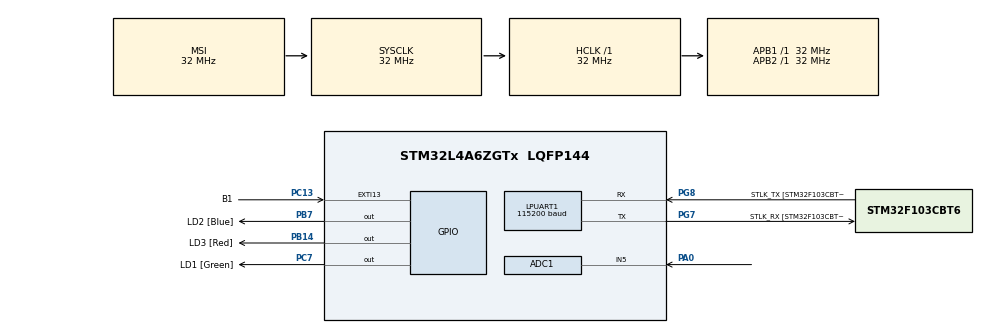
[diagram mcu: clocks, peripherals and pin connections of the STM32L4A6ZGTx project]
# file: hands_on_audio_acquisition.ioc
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ADC1.Channel-0\#ChannelRegularConversion=ADC_CHANNEL_5
ADC1.DMAContinuousRequests=ENABLE
ADC1.ExternalTrigConv=ADC_EXTERNALTRIG_T3_TRGO
ADC1.NbrOfConversionFlag=1
ADC1.OffsetNumber-0\#ChannelRegularConversion=ADC_OFFSET_NONE
ADC1.Rank-0\#ChannelRegularConversion=1
ADC1.SamplingTime-0\#ChannelRegularConversion=ADC_SAMPLETIME_2CYCLES_5
ADC1.master=1
Dma.ADC1.0.Direction=DMA_PERIPH_TO_MEMORY
Dma.ADC1.0.Instance=DMA1_Channel1
Dma.ADC1.0.MemDataAlignment=DMA_MDATAALIGN_HALFWORD
Dma.ADC1.0.MemInc=DMA_MINC_ENABLE
Dma.ADC1.0.Mode=DMA_CIRCULAR
Dma.ADC1.0.PeriphDataAlignment=DMA_PDATAALIGN_HALFWORD
Dma.ADC1.0.PeriphInc=DMA_PINC_DISABLE
Dma.ADC1.0.Priority=DMA_PRIORITY_LOW
Dma.Request0=ADC1
LPUART1.AutoBaudRateEnableParam=UART_ADVFEATURE_AUTOBAUDRATE_DISABLE
LPUART1.BaudRate=115200
LPUART1.DMADisableonRxErrorParam=UART_ADVFEATURE_DMA_ENABLEONRXERROR
LPUART1.DataInvertParam=UART_ADVFEATURE_DATAINV_DISABLE
LPUART1.MSBFirstParam=UART_ADVFEATURE_MSBFIRST_DISABLE
LPUART1.Mode=UART_MODE_TX_RX
LPUART1.OneBitSampling=UART_ONE_BIT_SAMPLE_DISABLE
LPUART1.OverrunDisableParam=UART_ADVFEATURE_OVERRUN_ENABLE
LPUART1.Parity=UART_PARITY_NONE
LPUART1.RxPinLevelInvertParam=UART_ADVFEATURE_RXINV_DISABLE
LPUART1.StopBits=UART_STOPBITS_1
LPUART1.SwapParam=UART_ADVFEATURE_SWAP_DISABLE
LPUART1.TxPinLevelInvertParam=UART_ADVFEATURE_TXINV_DISABLE
LPUART1.WordLength=UART_WORDLENGTH_8B
Mcu.Family=STM32L4
Mcu.Name=STM32L4A6ZGTx
Mcu.Package=LQFP144
NVIC.DMA1_Channel1_IRQn=true\:0\:0\:false\:false\:true\:false\:true\:true
NVIC.EXTI15_10_IRQn=true\:0\:0\:false\:false\:true\:true\:true\:true
NVIC.PriorityGroup=NVIC_PRIORITYGROUP_4
PA0.Signal=ADCx_IN5
PA13\ (JTMS/SWDIO).GPIO_Label=TMS
PA13\ (JTMS/SWDIO).Mode=Trace_Asynchronous_SW
PA13\ (JTMS/SWDIO).Signal=SYS_JTMS-SWDIO
PA14\ (JTCK/SWCLK).GPIO_Label=TCK
PA14\ (JTCK/SWCLK).Mode=Trace_Asynchronous_SW
PA14\ (JTCK/SWCLK).Signal=SYS_JTCK-SWCLK
PB14.GPIO_Label=LD3 [Red]
PB14.Signal=GPIO_Output
PB3\ (JTDO/TRACESWO).GPIO_Label=SWO
PB3\ (JTDO/TRACESWO).Mode=Trace_Asynchronous_SW
PB3\ (JTDO/TRACESWO).Signal=SYS_JTDO-SWO
PB7.GPIO_Label=LD2 [Blue]
PB7.Signal=GPIO_Output
PC13.GPIO_Label=B1
PC13.Signal=GPXTI13
PC14-OSC32_IN\ (PC14).Mode=LSE-External-Oscillator
PC14-OSC32_IN\ (PC14).Signal=RCC_OSC32_IN
PC15-OSC32_OUT\ (PC15).Mode=LSE-External-Oscillator
PC15-OSC32_OUT\ (PC15).Signal=RCC_OSC32_OUT
PC7.GPIO_Label=LD1 [Green]
PC7.Signal=GPIO_Output
PG7.GPIO_Label=STLK_RX [STM32F103CBT6_PA3]
PG7.Mode=Asynchronous
PG7.Signal=LPUART1_TX
PG8.GPIO_Label=STLK_TX [STM32F103CBT6_PA2]
PG8.Mode=Asynchronous
PG8.Signal=LPUART1_RX
PH1-OSC_OUT\ (PH1).Signal=RCC_OSC_OUT
ProjectManager.HeapSize=0x200
ProjectManager.StackSize=0x400
ProjectManager.TargetToolchain=STM32CubeIDE
RCC.ADCCLockSelection=RCC_ADCCLKSOURCE_SYSCLK
RCC.ADCFreq_Value=32000000
RCC.AHBFreq_Value=32000000
RCC.APB1Freq_Value=32000000
RCC.APB1TimFreq_Value=32000000
RCC.APB2Freq_Value=32000000
RCC.APB2TimFreq_Value=32000000
RCC.CortexFreq_Value=32000000
RCC.FLatency=FLASH_LATENCY_1
RCC.HCLKFreq_Value=32000000
RCC.HSE_VALUE=8000000
RCC.HSI48_VALUE=48000000
RCC.HSI_VALUE=16000000
RCC.MSIClockRange=RCC_MSIRANGE_10
RCC.MSI_VALUE=32000000
RCC.PLLN=71
RCC.PLLR=RCC_PLLR_DIV6
RCC.PLLSAI1N=24
RCC.SYSCLKFreq_VALUE=32000000
RCC.USBFreq_Value=384000000
RCC.VCOOutputFreq_Value=2272000000
SH.ADCx_IN5.0=ADC1_IN5,IN5-Single-Ended
TIM3.Period=195
TIM3.Prescaler=15
TIM3.TIM_MasterOutputTrigger=TIM_TRGO_UPDATE
VP_TIM3_VS_ClockSourceINT.Mode=Internal
board=NUCLEO-L4A6ZG

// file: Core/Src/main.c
/* USER CODE BEGIN Header */
/**
  ****************************************************************************
  * @file           : main.c
  * @brief          : Main program body
  ****************************************************************************
  * @attention
  *
  * <h2><center>&copy; Copyright (c) 2021 STMicroelectronics.
  * All rights reserved.</center></h2>
  *
  * This software component is licensed by ST under BSD 3-Clause license,
  * the "License"; You may not use this file except in compliance with the
  * License. You may obtain a copy of the License at:
  *                        opensource.org/licenses/BSD-3-Clause

  *
  ****************************************************************************
  */
/* USER CODE END Header */
#include "main.h"
#include "adc.h"
#include "dma.h"
#include "usart.h"
#include "tim.h"
#include "gpio.h"

/* USER CODE BEGIN Includes */
#include <stdio.h>
#include "retarget.h"
/* USER CODE END Includes */

/* USER CODE BEGIN PD */
//MAXIMUM BUFFER WITHOUT PROBLEM: 32700 - above : only part of the audio recorded
//ABOVE 40000: overflow error - not enough ram (320KB (bytes) of RAM, buffer of 40000 -> 160kB)
#define ADC_BUF_SIZE 32700
/* USER CODE END PD */

/* USER CODE BEGIN PV */
volatile int state;
//Le 2* est normal !
volatile uint16_t ADCBuffer[2*ADC_BUF_SIZE]; /* ADC group regular conversion data (array of data) */
volatile uint16_t* ADCData1;
volatile uint16_t* ADCData2;
// Flag to track ADC state
volatile uint8_t is_acquiring = 0;

volatile int state = 0; // To track the button
uint32_t adc_value = 0; // To store ADC value

//Our defined variables
uint8_t is_led_blinking = 0;

char hex_encoded_buffer[4*ADC_BUF_SIZE+1];
/* USER CODE END PV */

void SystemClock_Config(void);
/* USER CODE BEGIN PFP */
void hex_encode(char* s, const uint8_t* buf, size_t len);
void print_buffer(uint16_t *buffer);
uint32_t get_signal_power(uint16_t *buffer, size_t len);
/* USER CODE END PFP */

/* USER CODE BEGIN 0 */

//Teaching staff's functions
//----------------------------
void hex_encode(char* s, const uint8_t* buf, size_t len) {
    s[2*len] = '\0'; // A string terminated by a zero char.
    for (size_t i=0; i<len; i++) {
        s[i*2] = "0123456789abcdef"[buf[i] >> 4];
        s[i*2+1] = "0123456789abcdef"[buf[i] & 0xF];
    }
}

void print_buffer(uint16_t *buffer) {
	hex_encode(hex_encoded_buffer, (uint8_t*)buffer, 2*ADC_BUF_SIZE);
	printf("SND:HEX:%s\r\n", hex_encoded_buffer);
}

uint32_t get_signal_power(uint16_t *buffer, size_t len){
	uint64_t sum = 0;
	uint64_t sum2 = 0;
	for (size_t i=0; i<len; i++) {
		sum += (uint64_t) buffer[i];
		sum2 += (uint64_t) buffer[i]*(uint64_t) buffer[i];
	}
	return (uint32_t)(sum2/len - sum*sum/len/len);
}

//Our functions
//--------------------------------

// Function to start ADC acquisition
void start_adc_acquisition() {
    HAL_TIM_Base_Start(&htim3);
    HAL_ADC_Start_DMA(&hadc1, (uint32_t *) ADCBuffer, 2*ADC_BUF_SIZE);
    is_acquiring = 1;
    printf("Acquisition started.\r\n");
}

// Function to stop ADC acquisition
void stop_adc_acquisition() {
    HAL_TIM_Base_Stop(&htim3);
    HAL_ADC_Stop_DMA(&hadc1);
    is_acquiring = 0;
    printf("Acquisition stopped.\r\n");
}

//B1 USER BUTTON Trigger
/*void HAL_GPIO_EXTI_Callback(uint16_t GPIO_Pin) { //Triggered when pressing button
	if (GPIO_Pin == B1_Pin) {
		HAL_TIM_Base_Start(&htim3);
		HAL_ADC_Start_DMA(&hadc1, (uint32_t *) ADCBuffer, 2*ADC_BUF_SIZE);

	}
}*/
// Button press toggles ADC acquisition
void HAL_GPIO_EXTI_Callback(uint16_t GPIO_Pin) {
    if (GPIO_Pin == B1_Pin) {
        if (is_acquiring) {
            stop_adc_acquisition();
        } else {
            start_adc_acquisition();
        }
    }
}

//Triggered by ADC_Start_DMA when buffer is full
/*void HAL_ADC_ConvCpltCallback(ADC_HandleTypeDef *hadc){

	HAL_GPIO_WritePin(LD2_GPIO_Port, LD2_Pin, GPIO_PIN_SET);  // LED ON
	print_buffer(ADCBuffer);
	HAL_TIM_Base_Stop(&htim3);
	HAL_ADC_Stop_DMA(&hadc1);
	HAL_GPIO_WritePin(LD2_GPIO_Port, LD2_Pin, GPIO_PIN_RESET); // LED OFF

}*/
// ADC Callback (data ready)
void HAL_ADC_ConvCpltCallback(ADC_HandleTypeDef *hadc) {
    if (is_acquiring) {
        HAL_GPIO_WritePin(LD2_GPIO_Port, LD2_Pin, GPIO_PIN_SET);  // LED ON
        print_buffer(ADCBuffer);  // Send data via UART
        HAL_GPIO_WritePin(LD2_GPIO_Port, LD2_Pin, GPIO_PIN_RESET); // LED OFF
    } else {
            printf("ERROR: Attempted to send data while ADC is stopped!\r\n");
        }
}

/* USER CODE END 0 */

int main(void)
{

  /* MCU Configuration--------------------------------------------------------*/

  /* Reset of all peripherals, Initializes the Flash interface and the Systick. */
  HAL_Init();

  /* Configure the system clock */
  SystemClock_Config();

  /* Initialize all configured peripherals */
  MX_GPIO_Init();
  MX_DMA_Init();
  MX_LPUART1_UART_Init();
  MX_ADC1_Init();
  MX_TIM3_Init();
  /* USER CODE BEGIN 2 */
  RetargetInit(&hlpuart1);
  printf("Hello world!\r\n");
  state=0;
  //ADCData1 = &ADCBuffer[0];
  //ADCData2 = &ADCBuffer[ADC_BUF_SIZE];
  /* USER CODE END 2 */

  /* Infinite loop */
  /* USER CODE BEGIN WHILE */
  while (1)
  {
	__WFI();
    /* USER CODE END WHILE */

  }
}

void SystemClock_Config(void)
{
  RCC_OscInitTypeDef RCC_OscInitStruct = {0};
  RCC_ClkInitTypeDef RCC_ClkInitStruct = {0};

  /** Configure the main internal regulator output voltage
  */
  if (HAL_PWREx_ControlVoltageScaling(PWR_REGULATOR_VOLTAGE_SCALE1) != HAL_OK)
  {
    Error_Handler();
  }

  /** Initializes the RCC Oscillators according to the specified parameters
  * in the RCC_OscInitTypeDef structure.
  */
  RCC_OscInitStruct.OscillatorType = RCC_OSCILLATORTYPE_MSI;
  RCC_OscInitStruct.MSIState = RCC_MSI_ON;
  RCC_OscInitStruct.MSICalibrationValue = 0;
  RCC_OscInitStruct.MSIClockRange = RCC_MSIRANGE_10;
  RCC_OscInitStruct.PLL.PLLState = RCC_PLL_NONE;
  if (HAL_RCC_OscConfig(&RCC_OscInitStruct) != HAL_OK)
  {
    Error_Handler();
  }

  /** Initializes the CPU, AHB and APB buses clocks
  */
  RCC_ClkInitStruct.ClockType = RCC_CLOCKTYPE_HCLK|RCC_CLOCKTYPE_SYSCLK
                              |RCC_CLOCKTYPE_PCLK1|RCC_CLOCKTYPE_PCLK2;
  RCC_ClkInitStruct.SYSCLKSource = RCC_SYSCLKSOURCE_MSI;
  RCC_ClkInitStruct.AHBCLKDivider = RCC_SYSCLK_DIV1;
  RCC_ClkInitStruct.APB1CLKDivider = RCC_HCLK_DIV1;
  RCC_ClkInitStruct.APB2CLKDivider = RCC_HCLK_DIV1;

  if (HAL_RCC_ClockConfig(&RCC_ClkInitStruct, FLASH_LATENCY_1) != HAL_OK)
  {
    Error_Handler();
  }
}

void Error_Handler(void)
{
  __disable_irq();
  while (1)
  {
  }
}
